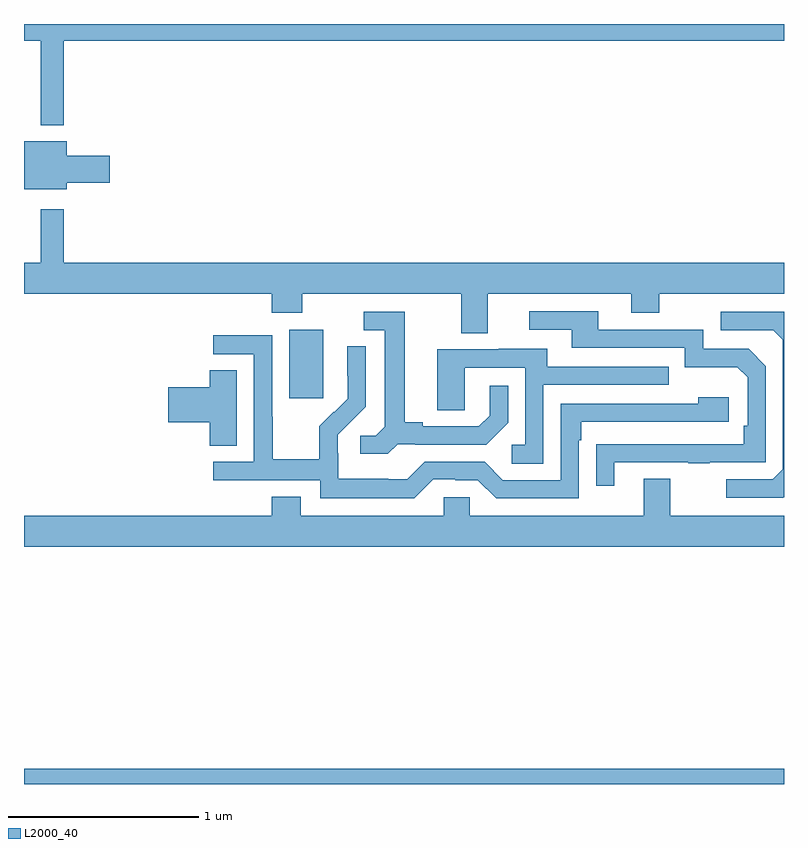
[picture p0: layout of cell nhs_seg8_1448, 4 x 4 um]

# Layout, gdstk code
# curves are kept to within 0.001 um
import gdstk
lib = gdstk.Library(unit=1e-6, precision=1e-09)
def R(c, l, rs):  # rectangles x0, y0, x1, y1
    for r in rs: c.add(gdstk.rectangle(r[:2], r[2:], *l))
def P(c, l, *ps):  # polygons
    for p in ps: c.add(gdstk.Polygon(p, *l))
L2000_40 = (2000, 40)

nhs_seg8_1448 = lib.new_cell('nhs_seg8_1448')
R(nhs_seg8_1448, L2000_40, [(203,1133.9,207,1133.98), (204.395,1135.929,204.574,1136.29)])
P(nhs_seg8_1448, L2000_40, [(203.209,1137.812),(207,1137.812),(207,1137.9),(203,1137.9),(203,1137.812),(203.087,1137.812),(203.087,1137.368),(203.209,1137.368)],
  [(203.224,1137.064),(203.452,1137.064),(203.452,1137.206),(203.224,1137.206),(203.224,1137.283),(203,1137.283),(203,1137.029),(203.224,1137.029)],
  [(205.441,1136.48),(206.195,1136.48),(206.195,1136.381),(206.343,1136.381),(206.343,1136.48),(207,1136.48),(207,1136.644),(203.209,1136.644),(203.209,1136.926),(203.087,1136.926),(203.087,1136.644),(203,1136.644),(203,1136.48),(204.305,1136.48),(204.305,1136.381),(204.465,1136.381),(204.465,1136.48),(205.301,1136.48),(205.301,1136.272),(205.441,1136.272)],
  [(206.107,1135.593),(206.497,1135.593),(206.497,1135.588),(206.609,1135.588),(206.609,1135.593),(206.904,1135.593),(206.904,1136.1),(206.814,1136.19),(206.574,1136.19),(206.574,1136.292),(206.023,1136.292),(206.023,1136.388),(205.659,1136.388),(205.659,1136.292),(205.883,1136.292),(205.883,1136.196),(206.478,1136.196),(206.478,1136.093),(206.755,1136.093),(206.808,1136.04),(206.808,1135.786),(206.788,1135.786),(206.788,1135.689),(206.011,1135.688),(206.011,1135.47),(206.107,1135.47)],
  [(204.966,1135.689),(205.06,1135.689),(205.06,1135.686),(205.432,1135.686),(205.548,1135.802),(205.548,1135.996),(205.451,1135.996),(205.451,1135.839),(205.394,1135.782),(205.099,1135.782),(205.099,1135.805),(205.003,1135.805),(205.003,1136.385),(204.789,1136.385),(204.789,1136.289),(204.899,1136.289),(204.899,1135.781),(204.852,1135.734),(204.771,1135.734),(204.771,1135.637),(204.914,1135.637)],
  [(207,1135.41),(207,1136.385),(206.667,1136.385),(206.667,1136.289),(206.943,1136.289),(206.994,1136.238),(206.994,1135.557),(206.94,1135.503),(206.697,1135.503),(206.697,1135.407),(206.997,1135.407)],
  [(205.155,1135.503),(205.271,1135.503),(205.271,1135.5),(205.389,1135.5),(205.485,1135.404),(205.92,1135.404),(205.92,1135.709),(205.933,1135.709),(205.933,1135.806),(206.71,1135.806),(206.71,1135.936),(206.549,1135.936),(206.549,1135.902),(205.824,1135.902),(205.824,1135.5),(205.521,1135.5),(205.425,1135.596),(205.11,1135.596),(205.017,1135.503),(204.917,1135.503),(204.917,1135.507),(204.654,1135.507),(204.654,1135.641),(204.652,1135.641),(204.652,1135.738),(204.798,1135.886),(204.798,1136.204),(204.702,1136.204),(204.702,1136.05),(204.704,1136.05),(204.704,1135.928),(204.633,1135.857),(204.63,1135.86),(204.553,1135.783),(204.553,1135.609),(204.309,1135.609),(204.309,1135.832),(204.306,1135.832),(204.306,1136.262),(203.997,1136.262),(203.997,1136.163),(204.21,1136.163),(204.21,1135.596),(203.997,1135.596),(203.997,1135.5),(204.558,1135.5),(204.558,1135.403),(205.055,1135.403)],
  [(205.734,1136.001),(206.393,1136.001),(206.393,1136.097),(205.753,1136.097),(205.753,1136.191),(205.499,1136.191),(205.499,1136.187),(205.175,1136.187),(205.175,1135.867),(205.32,1135.867),(205.32,1136.091),(205.638,1136.091),(205.638,1135.686),(205.566,1135.686),(205.566,1135.585),(205.734,1135.585)],
  [(204.121,1136.078),(203.978,1136.078),(203.978,1135.988),(203.76,1135.988),(203.76,1135.805),(203.978,1135.805),(203.978,1135.681),(204.121,1135.681)],
  [(207,1135.312),(206.401,1135.312),(206.401,1135.507),(206.261,1135.507),(206.261,1135.312),(205.347,1135.312),(205.347,1135.41),(205.209,1135.41),(205.209,1135.312),(204.457,1135.312),(204.457,1135.411),(204.305,1135.411),(204.305,1135.312),(203,1135.312),(203,1135.148),(207,1135.148)])

lib.write_gds('nhs_seg8_1448.gds')
